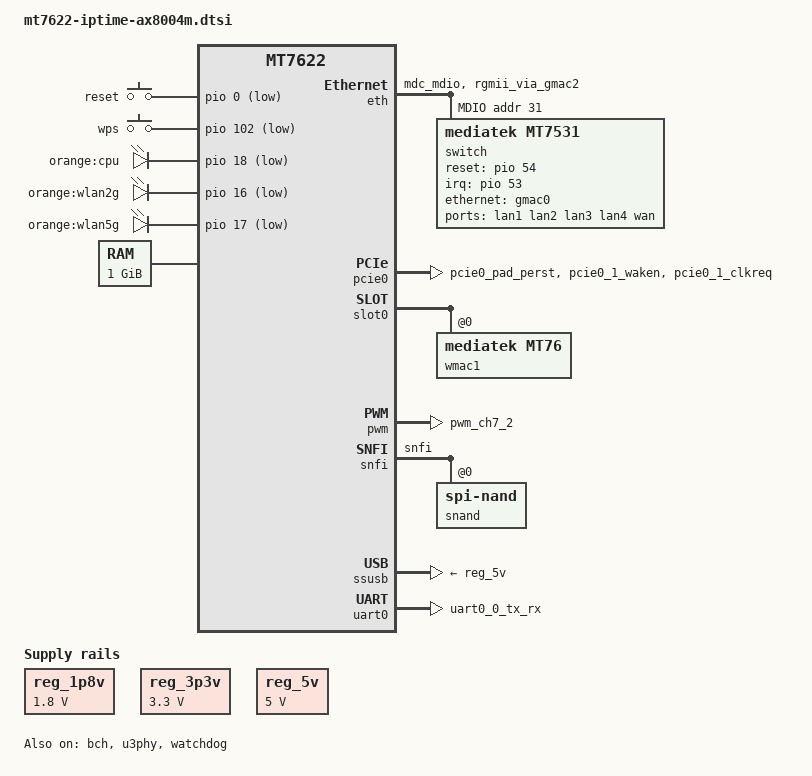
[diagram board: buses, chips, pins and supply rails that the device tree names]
// SPDX-License-Identifier: (GPL-2.0-only OR MIT)

/dts-v1/;
#include <dt-bindings/input/input.h>
#include <dt-bindings/gpio/gpio.h>

#include "mt7622.dtsi"
#include "mt6380.dtsi"

/ {
	compatible = "iptime,ax8004m", "mediatek,mt7622";

	aliases {
		label-mac-device = &gmac0;
		led-boot = &led_cpu;
		led-failsafe = &led_cpu;
		led-running = &led_cpu;
		led-upgrade = &led_cpu;
		serial0 = &uart0;
	};

	chosen {
		stdout-path = "serial0:115200n8";
		bootargs = "earlycon=uart8250,mmio32,0x11002000 console=ttyS0,115200n1 swiotlb=512";
	};

	cpus {
		cpu@0 {
			proc-supply = <&mt6380_vcpu_reg>;
			sram-supply = <&mt6380_vm_reg>;
		};

		cpu@1 {
			proc-supply = <&mt6380_vcpu_reg>;
			sram-supply = <&mt6380_vm_reg>;
		};
	};

	gpio-keys {
		compatible = "gpio-keys";

		reset {
			label = "reset";
			linux,code = <BTN_0>;
			gpios = <&pio 0 GPIO_ACTIVE_LOW>;
		};

		wps {
			label = "wps";
			linux,code = <KEY_WPS_BUTTON>;
			gpios = <&pio 102 GPIO_ACTIVE_LOW>;
		};
	};

	leds {
		compatible = "gpio-leds";

		led_cpu: cpu {
			label = "orange:cpu";
			gpios = <&pio 18 GPIO_ACTIVE_LOW>;
		};

		wlan2g {
			label = "orange:wlan2g";
			gpios = <&pio 16 GPIO_ACTIVE_LOW>;
			linux,default-trigger = "phy0radio";
		};

		wlan5g {
			label = "orange:wlan5g";
			gpios = <&pio 17 GPIO_ACTIVE_LOW>;
			linux,default-trigger = "phy1radio";
		};
	};

	memory {
		reg = <0 0x40000000 0 0x40000000>;
	};

	reg_1p8v: regulator-1p8v {
		compatible = "regulator-fixed";
		regulator-name = "fixed-1.8V";
		regulator-min-microvolt = <1800000>;
		regulator-max-microvolt = <1800000>;
		regulator-always-on;
	};

	reg_3p3v: regulator-3p3v {
		compatible = "regulator-fixed";
		regulator-name = "fixed-3.3V";
		regulator-min-microvolt = <3300000>;
		regulator-max-microvolt = <3300000>;
		regulator-boot-on;
		regulator-always-on;
	};

	reg_5v: regulator-5v {
		compatible = "regulator-fixed";
		regulator-name = "fixed-5V";
		regulator-min-microvolt = <5000000>;
		regulator-max-microvolt = <5000000>;
		regulator-boot-on;
		regulator-always-on;
	};
};

&bch {
	status = "okay";
};

&eth {
	pinctrl-names = "default";
	pinctrl-0 = <&eth_pins>;
	status = "okay";

	gmac0: mac@0 {
		compatible = "mediatek,eth-mac";
		reg = <0>;
		phy-mode = "2500base-x";

		fixed-link {
			speed = <2500>;
			full-duplex;
			pause;
		};
	};

	mdio-bus {
		#address-cells = <1>;
		#size-cells = <0>;

		switch@1f {
			compatible = "mediatek,mt7531";
			reg = <0x1f>;
			interrupt-controller;
			#interrupt-cells = <1>;
			interrupt-parent = <&pio>;
			interrupts = <53 IRQ_TYPE_LEVEL_HIGH>;
			reset-gpios = <&pio 54 0>;

			ports {
				#address-cells = <1>;
				#size-cells = <0>;

				port@0 {
					reg = <0>;
					label = "lan1";
				};

				port@1 {
					reg = <1>;
					label = "lan2";
				};

				port@2 {
					reg = <2>;
					label = "lan3";
				};

				port@3 {
					reg = <3>;
					label = "lan4";
				};

				wan: port@4 {
					reg = <4>;
					label = "wan";
				};

				port@6 {
					reg = <6>;
					ethernet = <&gmac0>;
					phy-mode = "2500base-x";

					fixed-link {
						speed = <2500>;
						full-duplex;
						pause;
					};
				};
			};
		};

	};
};

&pcie0 {
	pinctrl-names = "default";
	pinctrl-0 = <&pcie0_pins>;
	status = "okay";
};

&slot0 {
	wmac1: wifi@0,0 {
		compatible = "mediatek,mt76";
		reg = <0x0 0 0 0 0>;
		ieee80211-freq-limit = <5000000 6000000>;
	};
};

&pio {
	eth_pins: eth-pins {
		mux {
			function = "eth";
			groups = "mdc_mdio", "rgmii_via_gmac2";
		};
	};

	pcie0_pins: pcie0-pins {
		mux {
			function = "pcie";
			groups = "pcie0_pad_perst",
				"pcie0_1_waken",
				"pcie0_1_clkreq";
		};
	};

	pmic_bus_pins: pmic-bus-pins {
		mux {
			function = "pmic";
			groups = "pmic_bus";
		};
	};

	pwm7_pins: pwm1-2-pins {
		mux {
			function = "pwm";
			groups = "pwm_ch7_2";
		};
	};

	serial_nand_pins: serial-nand-pins {
		mux {
			function = "flash";
			groups = "snfi";
		};
	};

	uart0_pins: uart0-pins {
		mux {
			function = "uart";
			groups = "uart0_0_tx_rx" ;
		};
	};

	watchdog_pins: watchdog-pins {
		mux {
			function = "watchdog";
			groups = "watchdog";
		};
	};
};

&pwm {
	pinctrl-names = "default";
	pinctrl-0 = <&pwm7_pins>;
	status = "okay";
};

&pwrap {
	pinctrl-names = "default";
	pinctrl-0 = <&pmic_bus_pins>;

	status = "okay";
};

&snfi {
	pinctrl-names = "default";
	pinctrl-0 = <&serial_nand_pins>;
	status = "okay";

	snand: flash@0 {
		compatible = "spi-nand";
		reg = <0>;
		spi-tx-bus-width = <4>;
		spi-rx-bus-width = <4>;
		nand-ecc-engine = <&snfi>;
	};
};

&ssusb {
	vusb33-supply = <&reg_3p3v>;
	vbus-supply = <&reg_5v>;
	status = "okay";
};

&u3phy {
	status = "okay";
};

&uart0 {
	pinctrl-names = "default";
	pinctrl-0 = <&uart0_pins>;
	status = "okay";
};

&watchdog {
	pinctrl-names = "default";
	pinctrl-0 = <&watchdog_pins>;
	status = "okay";
};
